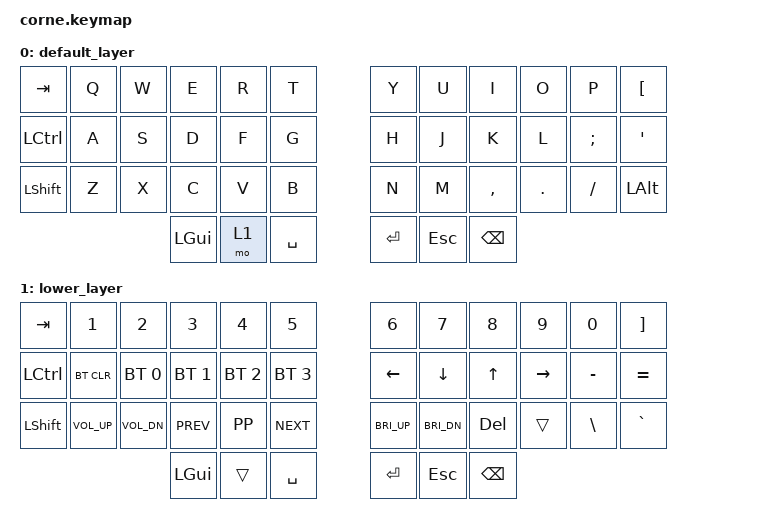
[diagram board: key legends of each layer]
#include <behaviors.dtsi>
#include <dt-bindings/zmk/keys.h>
#include <dt-bindings/zmk/bt.h>

&led_strip {
  chain-length = <21>;
};

/ {
        keymap {
                compatible = "zmk,keymap";

                default_layer {
// -----------------------------------------------------------------------------------------
// | TAB  |  Q  |  W  |  E  |  R  |  T  |   |  Y  |  U   |  I   |  O  |  P  |  [  |
// | CTRL |  A  |  S  |  D  |  F  |  G  |   |  H  |  J   |  K   |  L  |  ;  |  '  |
// | SHFT |  Z  |  X  |  C  |  V  |  B  |   |  N  |  M   |  ,   |  .  |  /  | ALT |
//                    | GUI | LWR | SPC |   | ENT | ESC  | BSPC |
                        bindings = <
   &kp TAB   &kp Q &kp W &kp E    &kp R     &kp T         &kp Y   &kp U   &kp I     &kp O   &kp P    &kp LBKT
   &kp LCTRL &kp A &kp S &kp D    &kp F     &kp G         &kp H   &kp J   &kp K     &kp L   &kp SEMI &kp SQT
   &kp LSHFT &kp Z &kp X &kp C    &kp V     &kp B         &kp N   &kp M   &kp COMMA &kp DOT &kp FSLH &kp LALT
                         &kp LGUI &mo 1 &kp SPACE   &kp RET &kp ESC &kp BSPC
                        >;
                };
                lower_layer {
// -----------------------------------------------------------------------------------------
// | TAB  |  1  |  2  |  3  |  4  |  5  |   |  6  |  7   |  8  |  9  |  0  |  ]   |
// | CTRL |BTCLR| BT1 | BT2 | BT3 | BT4 |   | LFT | DWN |  UP  | RGT |  -  |  =   |
// | SHFT |VOLUP|VOLDN|APREV|APAUS|ANEXT|   | BRUP| BRDN|      |     |     |      |
//                    | GUI |     | SPC |   | ENT |     | BSPC |
                        bindings = <
   &kp TAB   &kp N1       &kp N2       &kp N3       &kp N4       &kp N5         &kp N6       &kp N7       &kp N8      &kp N9    &kp N0    &kp RBKT
   &kp LCTRL &bt BT_CLR   &bt BT_SEL 0 &bt BT_SEL 1 &bt BT_SEL 2 &bt BT_SEL 3   &kp LEFT     &kp DOWN     &kp UP      &kp RIGHT &kp MINUS &kp EQUAL
   &kp LSHFT &kp C_VOL_UP &kp C_VOL_DN &kp K_PREV   &kp K_PP     &kp K_NEXT     &kp C_BRI_UP &kp C_BRI_DN &kp DEL      &trans    &kp BSLH  &kp GRAVE
                                       &kp LGUI     &trans       &kp SPACE      &kp RET      &kp ESC      &kp BSPC
                        >;
                };
        };
        chosen {
              zmk,underglow = &led_strip;
              zmk,backlight = &led_strip;
        };
};
